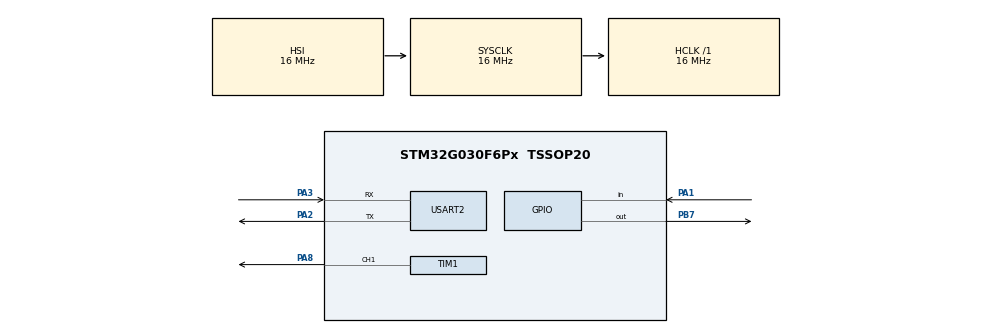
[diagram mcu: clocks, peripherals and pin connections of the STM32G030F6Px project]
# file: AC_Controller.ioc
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Mcu.Family=STM32G0
TIM1.OCPolarity_1=TIM_OCPOLARITY_LOW
RCC.CortexFreq_Value=16000000
TIM3.AutoReloadPreload=TIM_AUTORELOAD_PRELOAD_ENABLE
RCC.EXTERNAL_CLOCK_VALUE=12288000
TIM1.Pulse-PWM\ Generation1\ CH1=11
NVIC.USART2_IRQn=true\:0\:0\:false\:true\:true\:1\:true\:true
ProjectManager.StackSize=0x400
PA3.Mode=Asynchronous
TIM1.AutoReloadPreload=TIM_AUTORELOAD_PRELOAD_ENABLE
TIM1.Prescaler=15
SH.S_TIM1_CH1.0=TIM1_CH1,PWM Generation1 CH1
ProjectManager.TargetToolchain=STM32CubeIDE
RCC.HCLKFreq_Value=16000000
TIM3.Period=999
RCC.LSE_VALUE=32768
PA1.Signal=GPIO_Input
RCC.AHBFreq_Value=16000000
RCC.HSE_VALUE=8000000
board=custom
USART2.VirtualMode-Asynchronous=VM_ASYNC
RCC.VCOOutputFreq_Value=128000000
NVIC.TIM3_IRQn=true\:0\:0\:false\:true\:true\:2\:true\:true
TIM1.Channel-PWM\ Generation1\ CH1=TIM_CHANNEL_1
TIM3.Prescaler=159
PB7.Signal=GPIO_Output
PA8.Signal=S_TIM1_CH1
Mcu.Name=STM32G030F6Px
VP_TIM1_VS_ClockSourceINT.Mode=Internal
PA2.Signal=USART2_TX
PB7.PinState=GPIO_PIN_SET
RCC.SYSCLKFreq_VALUE=16000000
Mcu.Package=TSSOP20
ProjectManager.HeapSize=0x200
RCC.HSI_VALUE=16000000
PA2.Mode=Asynchronous
TIM1.Period=25
VP_TIM3_VS_ClockSourceINT.Mode=Internal
PA3.Signal=USART2_RX

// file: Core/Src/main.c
/* USER CODE BEGIN Header */
/**
  ******************************************************************************
  * @file           : main.c
  * @brief          : Main program body
  ******************************************************************************
  * @attention
  *
  * <h2><center>&copy; Copyright (c) 2021 STMicroelectronics.
  * All rights reserved.</center></h2>
  *
  * This software component is licensed by ST under BSD 3-Clause license,
  * the "License"; You may not use this file except in compliance with the
  * License. You may obtain a copy of the License at:
  *                        opensource.org/licenses/BSD-3-Clause
  *
  ******************************************************************************
  */
/* USER CODE END Header */
#include "main.h"
#include "tim.h"
#include "usart.h"
#include "gpio.h"

void SystemClock_Config(void);
static void MX_NVIC_Init(void);

/* USER CODE BEGIN 0 */
#define BLINK_DEBUG		0
#define PIR_DEBUG		1
#define UART_DEBUG		0
#define TIM_LED_DEBUG	0
#define PWM_DEBUG		0

#define LED_BLINK_PORT		GPIOB
#define LED_BLINK_PIN		GPIO_PIN_7
#define PIR_IN_PORT			GPIOA
#define PIR_IN_PIN			GPIO_PIN_1

#define USART_REC_LEN 15
#define DATA_LEN		4
uint8_t		Res;
uint8_t 	USART1_RX_BUF[USART_REC_LEN];
uint8_t		data_buf[DATA_LEN];
uint8_t 	data_buf_len;
uint8_t  USART1_RX_STA;

enum {
	PRECODE_H = 0,
	PRECODE_L,
	USERCODE_H,
	USERCODE_L,
	CTLCODE_H,
	CTLCODE_L,
	CTLSTOP,
};
struct Remote_Ctl {
	uint8_t state;

	uint16_t usercode;
	uint8_t usercnt;

	uint16_t ctlcode;
	uint8_t ctlcodecnt;
};
#define TURN_OFF_USR_CODE	0xff00
#define TURN_OFF_CTL_CODE	0xba45
static struct Remote_Ctl remote_ctl;

enum {
	NONE_CHK = 0,
	FAST_CHK,
	SLOW_CHK,
};
enum {
	NO_MOVING = 0,
	MOVING,
};
struct Pir_Ctl {
	uint8_t state;
	uint8_t chk_result;
	uint16_t cycle_cnt;
};
#define FAST_CHK_TIME	3//means check every 1 second
#define SLOW_CHK_TIME	1//means check every 1 minute
static struct Pir_Ctl pir_ctl;

uint32_t Tim_Arr_backup = 0;
/* USER CODE END 0 */

int main(void)
{
  /* USER CODE BEGIN 1 */
	uint8_t i;
  /* USER CODE END 1 */

  /* MCU Configuration--------------------------------------------------------*/

  /* Reset of all peripherals, Initializes the Flash interface and the Systick. */
  HAL_Init();

  /* Configure the system clock */
  SystemClock_Config();

  /* Initialize all configured peripherals */
  MX_GPIO_Init();
  MX_TIM1_Init();
  MX_TIM3_Init();
  MX_USART2_UART_Init();

  /* Initialize interrupts */
  MX_NVIC_Init();
  /* USER CODE BEGIN 2 */
  Tim_Arr_backup = TIM3->ARR;
  HAL_UART_Receive_IT(&huart2, &Res, 1);

  remote_ctl.state = PRECODE_H;
  remote_ctl.usercode = TURN_OFF_USR_CODE;
  remote_ctl.ctlcode = TURN_OFF_CTL_CODE;

#if (TIM_LED_DEBUG || PWM_DEBUG)
  HAL_TIM_Base_Start_IT(&htim3);
#endif

  pir_ctl.state		= NONE_CHK;
  pir_ctl.chk_result = NO_MOVING;
  pir_ctl.cycle_cnt		= 0;
  /* USER CODE END 2 */

  /* Infinite loop */
  /* USER CODE BEGIN WHILE */
  while (1)
  {
#if PIR_DEBUG
	  HAL_Delay(20);
	  if(HAL_GPIO_ReadPin(PIR_IN_PORT, PIR_IN_PIN))
		  HAL_GPIO_WritePin(LED_BLINK_PORT, LED_BLINK_PIN, GPIO_PIN_RESET);
	  else
		  HAL_GPIO_WritePin(LED_BLINK_PORT, LED_BLINK_PIN, GPIO_PIN_SET);
#endif
#if BLINK_DEBUG
	  HAL_Delay(200);
	  HAL_GPIO_TogglePin(LED_BLINK_PORT, LED_BLINK_PIN);
#endif
#if UART_DEBUG
	  if(USART1_RX_STA & 0x80)
	  {
		  HAL_UART_Transmit_IT(&huart2,USART1_RX_BUF,USART1_RX_STA&0x7F);
		  while(huart2.gState != HAL_UART_STATE_READY){};
		  HAL_UART_Transmit_IT(&huart2,data_buf,data_buf_len);
		  while(huart2.gState != HAL_UART_STATE_READY){};
		  if(data_buf[0] == 0x01)
			  HAL_GPIO_WritePin(GPIOB, GPIO_PIN_7, 0);
		  else if(data_buf[0] == 0x00)
			  HAL_GPIO_WritePin(GPIOB, GPIO_PIN_7, 1);
		  for(i = 0;i < USART_REC_LEN; ++i)
			  USART1_RX_BUF[i] = 0;
		  USART1_RX_STA=0;
	  }
	  HAL_Delay(100);
#endif
	  if(USART1_RX_STA & 0x80)
	  {
		  if((data_buf[0] & 0x01) == 0x00) {//turn off the AC
			  //if(HAL_GPIO_ReadPin(PIR_IN_PORT, PIR_IN_PIN))
				  //pir_ctl.state = FAST_CHK;
			if(!HAL_GPIO_ReadPin(PIR_IN_PORT, PIR_IN_PIN))
			  HAL_TIM_Base_Start_IT(&htim3);
		  } else if((data_buf[0] & 0x01) == 0x01) {//other action
			  remote_ctl.state = PRECODE_H;
			  remote_ctl.usercode = TURN_OFF_USR_CODE;
			  remote_ctl.ctlcode = TURN_OFF_CTL_CODE;

			  //HAL_TIM_Base_Start_IT(&htim3);
		  }
		  for(i = 0;i < USART_REC_LEN; ++i)
			  USART1_RX_BUF[i] = 0;
		  USART1_RX_STA=0;
	  }
	  HAL_Delay(10);
    /* USER CODE END WHILE */

  }
}

void SystemClock_Config(void)
{
  RCC_OscInitTypeDef RCC_OscInitStruct = {0};
  RCC_ClkInitTypeDef RCC_ClkInitStruct = {0};

  /** Configure the main internal regulator output voltage
  */
  HAL_PWREx_ControlVoltageScaling(PWR_REGULATOR_VOLTAGE_SCALE1);
  /** Initializes the RCC Oscillators according to the specified parameters
  * in the RCC_OscInitTypeDef structure.
  */
  RCC_OscInitStruct.OscillatorType = RCC_OSCILLATORTYPE_HSI;
  RCC_OscInitStruct.HSIState = RCC_HSI_ON;
  RCC_OscInitStruct.HSIDiv = RCC_HSI_DIV1;
  RCC_OscInitStruct.HSICalibrationValue = RCC_HSICALIBRATION_DEFAULT;
  RCC_OscInitStruct.PLL.PLLState = RCC_PLL_NONE;
  if (HAL_RCC_OscConfig(&RCC_OscInitStruct) != HAL_OK)
  {
    Error_Handler();
  }
  /** Initializes the CPU, AHB and APB buses clocks
  */
  RCC_ClkInitStruct.ClockType = RCC_CLOCKTYPE_HCLK|RCC_CLOCKTYPE_SYSCLK
                              |RCC_CLOCKTYPE_PCLK1;
  RCC_ClkInitStruct.SYSCLKSource = RCC_SYSCLKSOURCE_HSI;
  RCC_ClkInitStruct.AHBCLKDivider = RCC_SYSCLK_DIV1;
  RCC_ClkInitStruct.APB1CLKDivider = RCC_HCLK_DIV1;

  if (HAL_RCC_ClockConfig(&RCC_ClkInitStruct, FLASH_LATENCY_0) != HAL_OK)
  {
    Error_Handler();
  }
}

/**
  * @brief NVIC Configuration.
  * @retval None
  */
static void MX_NVIC_Init(void)
{
  /* USART2_IRQn interrupt configuration */
  HAL_NVIC_SetPriority(USART2_IRQn, 0, 0);
  HAL_NVIC_EnableIRQ(USART2_IRQn);
  /* TIM3_IRQn interrupt configuration */
  HAL_NVIC_SetPriority(TIM3_IRQn, 0, 0);
  HAL_NVIC_EnableIRQ(TIM3_IRQn);
}

/* USER CODE BEGIN 4 */
void HAL_UART_RxCpltCallback(UART_HandleTypeDef *huart)
{
    uint8_t i;
    if(huart ->Instance == USART2) {
		if((USART1_RX_STA&0x80)==0)
		{
			USART1_RX_BUF[USART1_RX_STA&0X3F] = Res ;
			USART1_RX_STA++;
			if(USART1_RX_STA > (USART_REC_LEN-1))
				USART1_RX_STA=0;

			if(Res==0xFF) {
				data_buf_len = USART1_RX_BUF[1] - 4;
				for(i = 0;i < data_buf_len; ++i)
					data_buf[i] = USART1_RX_BUF[6+i];
				USART1_RX_STA|=0x80;
			}

			HAL_UART_Receive_IT(huart,&Res,1);
		}
    }
}

void HAL_TIM_PeriodElapsedCallback(TIM_HandleTypeDef *htim)
{
	if(htim == (&htim3)) {
#if TIM_LED_DEBUG
		HAL_GPIO_TogglePin(GPIOB, GPIO_PIN_7);
		TIM3->ARR = 50000 - 1;
#endif
		if(pir_ctl.state == NONE_CHK) {
			switch(remote_ctl.state){
			case PRECODE_H:
				HAL_GPIO_WritePin(GPIOB, GPIO_PIN_7, GPIO_PIN_SET);
				HAL_TIM_PWM_Stop(&htim1,TIM_CHANNEL_1);
				TIM3->ARR = 900 - 1;//9ms
				remote_ctl.state = PRECODE_L;
				break;
			case PRECODE_L:
				HAL_GPIO_WritePin(GPIOB, GPIO_PIN_7, GPIO_PIN_RESET);
				HAL_TIM_PWM_Start(&htim1,TIM_CHANNEL_1);
				TIM3->ARR = 450 - 1;//4.5ms
				remote_ctl.state = USERCODE_H;
				break;
			case USERCODE_H:
				HAL_GPIO_WritePin(GPIOB, GPIO_PIN_7, GPIO_PIN_SET);
				HAL_TIM_PWM_Stop(&htim1,TIM_CHANNEL_1);
				TIM3->ARR = 56 - 1;//0.56ms
				remote_ctl.state = USERCODE_L;
				break;
			case USERCODE_L:
				HAL_GPIO_WritePin(GPIOB, GPIO_PIN_7, GPIO_PIN_RESET);
				HAL_TIM_PWM_Start(&htim1,TIM_CHANNEL_1);
				if(remote_ctl.usercode >> remote_ctl.usercnt & 0x01)
					TIM3->ARR = 169 - 1;//1.69ms
				else
					TIM3->ARR = 56 - 1;//0.565ms
				remote_ctl.usercnt++;
				if(remote_ctl.usercnt >= 16){
					remote_ctl.usercnt = 0;
					remote_ctl.state = CTLCODE_H;
				} else {
					remote_ctl.state = USERCODE_H;
				}
				break;
			case CTLCODE_H:
				HAL_GPIO_WritePin(GPIOB, GPIO_PIN_7, GPIO_PIN_SET);
				HAL_TIM_PWM_Stop(&htim1,TIM_CHANNEL_1);
				TIM3->ARR = 56 - 1;//0.56ms
				remote_ctl.state = CTLCODE_L;
				break;
			case CTLCODE_L:
				HAL_GPIO_WritePin(GPIOB, GPIO_PIN_7, GPIO_PIN_RESET);
				HAL_TIM_PWM_Start(&htim1,TIM_CHANNEL_1);
				if(remote_ctl.ctlcode >> remote_ctl.ctlcodecnt & 0x01)
					TIM3->ARR = 169 - 1;//1.69ms
				else
					TIM3->ARR = 56 - 1;//0.565ms
				remote_ctl.ctlcodecnt++;
				if(remote_ctl.ctlcodecnt >= 17){
					remote_ctl.ctlcodecnt = 0;
					remote_ctl.state = CTLSTOP;
				} else {
					remote_ctl.state = CTLCODE_H;
				}
				break;
			case CTLSTOP:
				HAL_TIM_PWM_Stop(&htim1,TIM_CHANNEL_1);
				HAL_GPIO_WritePin(GPIOB, GPIO_PIN_7, GPIO_PIN_SET);
				remote_ctl.state = PRECODE_H;
				HAL_TIM_Base_Stop_IT(&htim3);
				break;
			default:
				break;
			}
		} else if(pir_ctl.state == FAST_CHK) {
/*			if(pir_ctl.cycle_cnt >= 1)
				pir_ctl.chk_result += HAL_GPIO_ReadPin(PIR_IN_PORT, PIR_IN_PIN);

			if(pir_ctl.cycle_cnt == FAST_CHK_TIME && pir_ctl.chk_result == NO_MOVING) {//NO MOVING
				pir_ctl.state = NONE_CHK;
				pir_ctl.cycle_cnt = 0;
				pir_ctl.chk_result == NO_MOVING;

				remote_ctl.state = PRECODE_H;
				remote_ctl.usercode = TURN_OFF_USR_CODE;
				remote_ctl.ctlcode = TURN_OFF_CTL_CODE;

				TIM3->ARR = Tim_Arr_backup;
				return;
			} else {//MOVING
				pir_ctl.cycle_cnt = 0;
			}
			TIM3->ARR = 50000;
			pir_ctl.cycle_cnt++;*/
		} else if(pir_ctl.state == SLOW_CHK) {
			//TIM3->ARR = 50000;
		}
	}
}
/* USER CODE END 4 */

void Error_Handler(void)
{
  __disable_irq();
  while (1)
  {
  }
}

/************************ (C) COPYRIGHT STMicroelectronics *****END OF FILE****/
